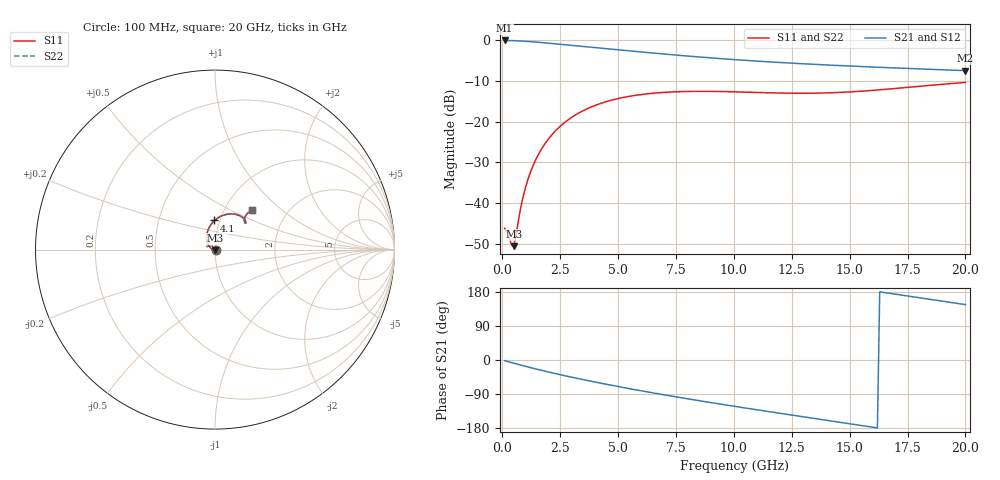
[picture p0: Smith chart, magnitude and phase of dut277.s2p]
! Created with skrf 1.9.0 (http://scikit-rf.org).
# GHz S RI R 50.0
!freq ReS11 ImS11 ReS21 ImS21 ReS12 ImS12 ReS22 ImS22
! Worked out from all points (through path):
!   200 points, 100 MHz to 20 GHz, reference 50 ohm
!   highest |S21| = -0.05 dB at 100 MHz (marker M1); lowest = -7.5 dB at 20 GHz (marker M2)
!   group delay of S21, straight-line fit = 28.3 ps
!   lowest |S11| = -50.5 dB at 500 MHz (marker M3), VSWR 1.01, Z = 49.9 - j0.29 ohm
!   |S11| at or under -10 dB: start of sweep to end of sweep
!   |S22| runs from -50.5 to -10.3 dB; largest |S21 - S12| = 1.9e-15
!   S11 on the Smith chart (normalised r, x): 100 MHz: 1.01, -0.00; 4.1 GHz: 0.94, +0.31; 20 GHz: 1.34, +0.65
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0.1  0.00487 -0.000791  0.9942 -0.0296  0.9942 -0.0296  0.00487 -0.000791
0.2  0.00419 -0.00156  0.9921 -0.0591  0.9921 -0.0591  0.00419 -0.00156
0.4  0.00144 -0.00269  0.9837 -0.1171  0.9837 -0.1171  0.00144 -0.00269
0.5  -0.000595 -0.00291  0.9777 -0.1455  0.9777 -0.1455  -0.000595 -0.00291
0.6  -0.00302 -0.00281  0.9704 -0.1734  0.9704 -0.1734  -0.00302 -0.00281
0.8  -0.00881 -0.00142  0.9526 -0.2273  0.9526 -0.2273  -0.00881 -0.00142
1  -0.0154 0.00178  0.9309 -0.2783  0.9309 -0.2783  -0.0154 0.00178
1.2  -0.0223 0.0069  0.9058 -0.3263  0.9058 -0.3263  -0.0223 0.0069
1.5  -0.032 0.018  0.8632 -0.392  0.8632 -0.392  -0.032 0.018
1.9  -0.0417 0.0382  0.7998 -0.4682  0.7998 -0.4682  -0.0417 0.0382
2.3  -0.0462 0.0622  0.7317 -0.5319  0.7317 -0.5319  -0.0462 0.0622
2.9  -0.0418 0.1  0.6254 -0.6068  0.6254 -0.6068  -0.0418 0.1
3.5  -0.0262 0.1345  0.5178 -0.6602  0.5178 -0.6602  -0.0262 0.1345
4.1  -0.00282 0.1622  0.412 -0.6949  0.412 -0.6949  -0.00282 0.1622
5.4  0.0573 0.1947  0.1976 -0.7183  0.1976 -0.7183  0.0573 0.1947
6.8  0.1142 0.1965  0.000335 -0.6849  0.000335 -0.6849  0.1142 0.1965
8.4  0.1547 0.1783  -0.177 -0.6012  -0.177 -0.6012  0.1547 0.1783
10.1  0.1711 0.1575  -0.3135 -0.4841  -0.3135 -0.4841  0.1711 0.1575
11.7  0.171 0.1476  -0.4004 -0.3612  -0.4004 -0.3612  0.171 0.1476
13.4  0.1656 0.1509  -0.4546 -0.2255  -0.4546 -0.2255  0.1656 0.1509
16.7  0.1698 0.1862  -0.4593 0.0304  -0.4593 0.0304  0.1698 0.1862
20  0.2086 0.2208  -0.3523 0.2359  -0.3523 0.2359  0.2086 0.2208
